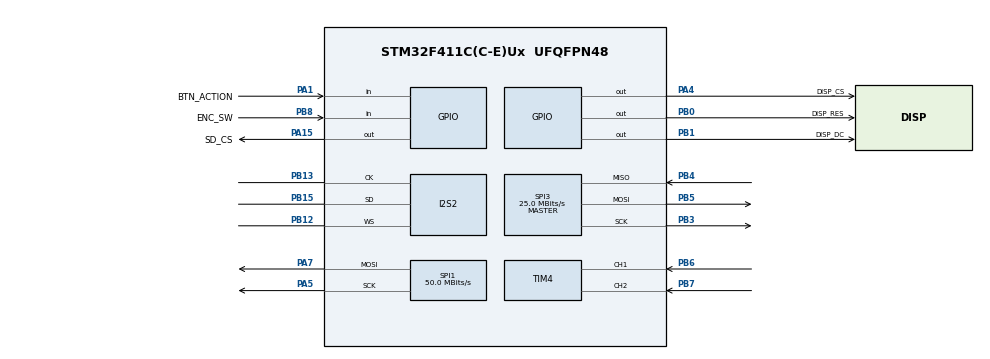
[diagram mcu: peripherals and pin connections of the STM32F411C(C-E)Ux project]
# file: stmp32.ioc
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I2S2.ErrorAudioFreq=0.0 %
I2S2.FullDuplexMode=I2S_FULLDUPLEXMODE_DISABLE
I2S2.Instance=SPI$Index
I2S2.RealAudioFreq=8.0 KHz
I2S2.VirtualMode=I2S_MODE_MASTER
Mcu.Family=STM32F4
Mcu.Name=STM32F411C(C-E)Ux
Mcu.Package=UFQFPN48
NVIC.PriorityGroup=NVIC_PRIORITYGROUP_4
PA1.GPIO_Label=BTN_ACTION
PA1.GPIO_PuPd=GPIO_PULLUP
PA1.Signal=GPIO_Input
PA15.GPIO_Label=SD_CS
PA15.Signal=GPIO_Output
PA4.GPIO_Label=DISP_CS
PA4.Signal=GPIO_Output
PA5.Mode=TX_Only_Simplex_Unidirect_Master
PA5.Signal=SPI1_SCK
PA7.Mode=TX_Only_Simplex_Unidirect_Master
PA7.Signal=SPI1_MOSI
PB0.GPIO_Label=DISP_RES
PB0.Signal=GPIO_Output
PB1.GPIO_Label=DISP_DC
PB1.Signal=GPIO_Output
PB12.Mode=Half_Duplex_Master
PB12.Signal=I2S2_WS
PB13.Mode=Half_Duplex_Master
PB13.Signal=I2S2_CK
PB15.Mode=Half_Duplex_Master
PB15.Signal=I2S2_SD
PB3.Mode=Full_Duplex_Master
PB3.Signal=SPI3_SCK
PB4.Mode=Full_Duplex_Master
PB4.Signal=SPI3_MISO
PB5.Mode=Full_Duplex_Master
PB5.Signal=SPI3_MOSI
PB6.Signal=S_TIM4_CH1
PB7.Signal=S_TIM4_CH2
PB8.GPIO_Label=ENC_SW
PB8.GPIO_PuPd=GPIO_PULLUP
PB8.Signal=GPIO_Input
ProjectManager.HeapSize=0x200
ProjectManager.StackSize=0x400
ProjectManager.TargetToolchain=CMake
RCC.48MHZClocksFreq_Value=50000000
RCC.AHBFreq_Value=100000000
RCC.APB1CLKDivider=RCC_HCLK_DIV2
RCC.APB1Freq_Value=50000000
RCC.APB1TimFreq_Value=100000000
RCC.APB2Freq_Value=100000000
RCC.APB2TimFreq_Value=100000000
RCC.CortexFreq_Value=100000000
RCC.HCLKFreq_Value=100000000
RCC.HSE_VALUE=25000000
RCC.HSI_VALUE=16000000
RCC.LSE_VALUE=32768
RCC.PLLM=8
RCC.PLLN=100
RCC.SYSCLKFreq_VALUE=100000000
RCC.SYSCLKSource=RCC_SYSCLKSOURCE_PLLCLK
RCC.VCOOutputFreq_Value=200000000
SH.S_TIM4_CH1.0=TIM4_CH1,Encoder_Interface
SH.S_TIM4_CH2.0=TIM4_CH2,Encoder_Interface
SPI1.CalculateBaudRate=50.0 MBits/s
SPI1.Direction=SPI_DIRECTION_2LINES
SPI1.Mode=SPI_MODE_MASTER
SPI1.VirtualType=VM_MASTER
SPI3.CalculateBaudRate=25.0 MBits/s
SPI3.Direction=SPI_DIRECTION_2LINES
SPI3.Mode=SPI_MODE_MASTER
SPI3.VirtualType=VM_MASTER
board=custom

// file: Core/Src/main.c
/* USER CODE BEGIN Header */
/**
 ******************************************************************************
 * @file           : main.c
 * @brief          : Main program body
 ******************************************************************************
 * @attention
 *
 * Copyright (c) 2026 STMicroelectronics.
 * All rights reserved.
 *
 * This software is licensed under terms that can be found in the LICENSE file
 * in the root directory of this software component.
 * If no LICENSE file comes with this software, it is provided AS-IS.
 *
 ******************************************************************************
 */
/* USER CODE END Header */
#include "main.h"

/* USER CODE BEGIN Includes */
#include "display.h"
#include "ff.h"
#include "util.h"
#include "cfg.h"
#include <stdio.h>
#include <string.h>
/* USER CODE END Includes */

I2S_HandleTypeDef hi2s2;

SPI_HandleTypeDef hspi3;

/* USER CODE BEGIN PV */
static FATFS fs;
static FIL   fil;
/* USER CODE END PV */

void        SystemClock_Config(void);
void        PeriphCommonClock_Config(void);
static void MX_GPIO_Init(void);
static void MX_I2S2_Init(void);
static void MX_SPI1_Init(void);
static void MX_TIM4_Init(void);
static void MX_SPI3_Init(void);

int main(void) {

    /* MCU Configuration--------------------------------------------------------*/

    /* Reset of all peripherals, Initializes the Flash interface and the Systick. */
    HAL_Init();

    /* Configure the system clock */
    SystemClock_Config();

    /* Configure the peripherals common clocks */
    PeriphCommonClock_Config();

    /* Initialize all configured peripherals */
    MX_GPIO_Init();
    MX_I2S2_Init();
    MX_SPI1_Init();
    MX_TIM4_Init();
    MX_SPI3_Init();
    /* USER CODE BEGIN 2 */
    LL_GPIO_SetOutputPin(SD_CS_GPIO_Port, SD_CS_Pin); /* SPI lines high before bus activity */
    LL_GPIO_SetOutputPin(DISP_CS_GPIO_Port, DISP_CS_Pin);

    LL_SPI_Enable(SPI1);
    LL_SPI_Enable(SPI3);

    Display_InitHardware();
    Display_Init();
    BootLog_Reset();

    BootLog_Printf(LOG_COL_INFO, LOG_COL_BG, 1, "booting stmp32...");

    FRESULT fr = f_mount(&fs, "0:", 1); /* drive 0, immediate mount */
    if (fr != FR_OK)
        BootLog_Printf(LOG_COL_ERR, LOG_COL_BG, 1, "SD mount err: %d", fr);
    else {
        BootLog_Printf(LOG_COL_OK, LOG_COL_BG, 1, "SD mount OK");

        Cfg_Init();
    }

    BootLog_End();
    /* USER CODE END 2 */

    /* Infinite loop */
    while (1) {

    }
}

void SystemClock_Config(void) {
    LL_FLASH_SetLatency(LL_FLASH_LATENCY_3);
    while (LL_FLASH_GetLatency() != LL_FLASH_LATENCY_3) {}
    LL_PWR_SetRegulVoltageScaling(LL_PWR_REGU_VOLTAGE_SCALE1);
    LL_RCC_HSI_SetCalibTrimming(16);
    LL_RCC_HSI_Enable();

    /* Wait till HSI is ready */
    while (LL_RCC_HSI_IsReady() != 1) {}
    LL_RCC_PLL_ConfigDomain_SYS(LL_RCC_PLLSOURCE_HSI, LL_RCC_PLLM_DIV_8, 100, LL_RCC_PLLP_DIV_2);
    LL_RCC_PLL_Enable();

    /* Wait till PLL is ready */
    while (LL_RCC_PLL_IsReady() != 1) {}
    while (LL_PWR_IsActiveFlag_VOS() == 0) {}
    LL_RCC_SetAHBPrescaler(LL_RCC_SYSCLK_DIV_1);
    LL_RCC_SetAPB1Prescaler(LL_RCC_APB1_DIV_2);
    LL_RCC_SetAPB2Prescaler(LL_RCC_APB2_DIV_1);
    LL_RCC_SetSysClkSource(LL_RCC_SYS_CLKSOURCE_PLL);

    /* Wait till System clock is ready */
    while (LL_RCC_GetSysClkSource() != LL_RCC_SYS_CLKSOURCE_STATUS_PLL) {}
    LL_SetSystemCoreClock(100000000);

    /* Update the time base */
    if (HAL_InitTick(TICK_INT_PRIORITY) != HAL_OK) {
        Error_Handler();
    }
    LL_RCC_SetTIMPrescaler(LL_RCC_TIM_PRESCALER_TWICE);
}

void PeriphCommonClock_Config(void) {
    LL_RCC_PLLI2S_ConfigDomain_I2S(LL_RCC_PLLSOURCE_HSI, LL_RCC_PLLI2SM_DIV_16, 192,
                                   LL_RCC_PLLI2SR_DIV_2);
    LL_RCC_PLLI2S_Enable();

    /* Wait till PLL is ready */
    while (LL_RCC_PLLI2S_IsReady() != 1) {}
}

static void MX_I2S2_Init(void) {

    hi2s2.Instance            = SPI2;
    hi2s2.Init.Mode           = I2S_MODE_MASTER_TX;
    hi2s2.Init.Standard       = I2S_STANDARD_PHILIPS;
    hi2s2.Init.DataFormat     = I2S_DATAFORMAT_16B;
    hi2s2.Init.MCLKOutput     = I2S_MCLKOUTPUT_DISABLE;
    hi2s2.Init.AudioFreq      = I2S_AUDIOFREQ_8K;
    hi2s2.Init.CPOL           = I2S_CPOL_LOW;
    hi2s2.Init.ClockSource    = I2S_CLOCK_PLL;
    hi2s2.Init.FullDuplexMode = I2S_FULLDUPLEXMODE_DISABLE;
    if (HAL_I2S_Init(&hi2s2) != HAL_OK) {
        Error_Handler();
    }
}

static void MX_SPI1_Init(void) {

    LL_SPI_InitTypeDef SPI_InitStruct = {0};

    LL_GPIO_InitTypeDef GPIO_InitStruct = {0};

    /* Peripheral clock enable */
    LL_APB2_GRP1_EnableClock(LL_APB2_GRP1_PERIPH_SPI1);

    LL_AHB1_GRP1_EnableClock(LL_AHB1_GRP1_PERIPH_GPIOA);
    /**SPI1 GPIO Configuration
    PA5   ------> SPI1_SCK
    PA7   ------> SPI1_MOSI
    */
    GPIO_InitStruct.Pin        = LL_GPIO_PIN_5 | LL_GPIO_PIN_7;
    GPIO_InitStruct.Mode       = LL_GPIO_MODE_ALTERNATE;
    GPIO_InitStruct.Speed      = LL_GPIO_SPEED_FREQ_VERY_HIGH;
    GPIO_InitStruct.OutputType = LL_GPIO_OUTPUT_PUSHPULL;
    GPIO_InitStruct.Pull       = LL_GPIO_PULL_NO;
    GPIO_InitStruct.Alternate  = LL_GPIO_AF_5;
    LL_GPIO_Init(GPIOA, &GPIO_InitStruct);

    /* SPI1 parameter configuration*/
    SPI_InitStruct.TransferDirection = LL_SPI_FULL_DUPLEX;
    SPI_InitStruct.Mode              = LL_SPI_MODE_MASTER;
    SPI_InitStruct.DataWidth         = LL_SPI_DATAWIDTH_8BIT;
    SPI_InitStruct.ClockPolarity     = LL_SPI_POLARITY_LOW;
    SPI_InitStruct.ClockPhase        = LL_SPI_PHASE_1EDGE;
    SPI_InitStruct.NSS               = LL_SPI_NSS_SOFT;
    SPI_InitStruct.BaudRate          = LL_SPI_BAUDRATEPRESCALER_DIV2;
    SPI_InitStruct.BitOrder          = LL_SPI_MSB_FIRST;
    SPI_InitStruct.CRCCalculation    = LL_SPI_CRCCALCULATION_DISABLE;
    SPI_InitStruct.CRCPoly           = 10;
    LL_SPI_Init(SPI1, &SPI_InitStruct);
    LL_SPI_SetStandard(SPI1, LL_SPI_PROTOCOL_MOTOROLA);
}

static void MX_SPI3_Init(void) {

    /* SPI3 parameter configuration*/
    hspi3.Instance               = SPI3;
    hspi3.Init.Mode              = SPI_MODE_MASTER;
    hspi3.Init.Direction         = SPI_DIRECTION_2LINES;
    hspi3.Init.DataSize          = SPI_DATASIZE_8BIT;
    hspi3.Init.CLKPolarity       = SPI_POLARITY_LOW;
    hspi3.Init.CLKPhase          = SPI_PHASE_1EDGE;
    hspi3.Init.NSS               = SPI_NSS_SOFT;
    hspi3.Init.BaudRatePrescaler = SPI_BAUDRATEPRESCALER_2;
    hspi3.Init.FirstBit          = SPI_FIRSTBIT_MSB;
    hspi3.Init.TIMode            = SPI_TIMODE_DISABLE;
    hspi3.Init.CRCCalculation    = SPI_CRCCALCULATION_DISABLE;
    hspi3.Init.CRCPolynomial     = 10;
    if (HAL_SPI_Init(&hspi3) != HAL_OK) {
        Error_Handler();
    }
}

static void MX_TIM4_Init(void) {

    LL_TIM_InitTypeDef TIM_InitStruct = {0};

    LL_GPIO_InitTypeDef GPIO_InitStruct = {0};

    /* Peripheral clock enable */
    LL_APB1_GRP1_EnableClock(LL_APB1_GRP1_PERIPH_TIM4);

    LL_AHB1_GRP1_EnableClock(LL_AHB1_GRP1_PERIPH_GPIOB);
    /**TIM4 GPIO Configuration
    PB6   ------> TIM4_CH1
    PB7   ------> TIM4_CH2
    */
    GPIO_InitStruct.Pin        = LL_GPIO_PIN_6 | LL_GPIO_PIN_7;
    GPIO_InitStruct.Mode       = LL_GPIO_MODE_ALTERNATE;
    GPIO_InitStruct.Speed      = LL_GPIO_SPEED_FREQ_LOW;
    GPIO_InitStruct.OutputType = LL_GPIO_OUTPUT_PUSHPULL;
    GPIO_InitStruct.Pull       = LL_GPIO_PULL_NO;
    GPIO_InitStruct.Alternate  = LL_GPIO_AF_2;
    LL_GPIO_Init(GPIOB, &GPIO_InitStruct);

    LL_TIM_SetEncoderMode(TIM4, LL_TIM_ENCODERMODE_X2_TI1);
    LL_TIM_IC_SetActiveInput(TIM4, LL_TIM_CHANNEL_CH1, LL_TIM_ACTIVEINPUT_DIRECTTI);
    LL_TIM_IC_SetPrescaler(TIM4, LL_TIM_CHANNEL_CH1, LL_TIM_ICPSC_DIV1);
    LL_TIM_IC_SetFilter(TIM4, LL_TIM_CHANNEL_CH1, LL_TIM_IC_FILTER_FDIV1);
    LL_TIM_IC_SetPolarity(TIM4, LL_TIM_CHANNEL_CH1, LL_TIM_IC_POLARITY_RISING);
    LL_TIM_IC_SetActiveInput(TIM4, LL_TIM_CHANNEL_CH2, LL_TIM_ACTIVEINPUT_DIRECTTI);
    LL_TIM_IC_SetPrescaler(TIM4, LL_TIM_CHANNEL_CH2, LL_TIM_ICPSC_DIV1);
    LL_TIM_IC_SetFilter(TIM4, LL_TIM_CHANNEL_CH2, LL_TIM_IC_FILTER_FDIV1);
    LL_TIM_IC_SetPolarity(TIM4, LL_TIM_CHANNEL_CH2, LL_TIM_IC_POLARITY_RISING);
    TIM_InitStruct.Prescaler     = 0;
    TIM_InitStruct.CounterMode   = LL_TIM_COUNTERMODE_UP;
    TIM_InitStruct.Autoreload    = 65535;
    TIM_InitStruct.ClockDivision = LL_TIM_CLOCKDIVISION_DIV1;
    LL_TIM_Init(TIM4, &TIM_InitStruct);
    LL_TIM_DisableARRPreload(TIM4);
    LL_TIM_SetTriggerOutput(TIM4, LL_TIM_TRGO_RESET);
    LL_TIM_DisableMasterSlaveMode(TIM4);
}

static void MX_GPIO_Init(void) {
    LL_GPIO_InitTypeDef GPIO_InitStruct = {0};

    /* GPIO Ports Clock Enable */
    LL_AHB1_GRP1_EnableClock(LL_AHB1_GRP1_PERIPH_GPIOA);
    LL_AHB1_GRP1_EnableClock(LL_AHB1_GRP1_PERIPH_GPIOB);

    /**/
    LL_GPIO_ResetOutputPin(GPIOA, DISP_CS_Pin | SD_CS_Pin);

    /**/
    LL_GPIO_ResetOutputPin(GPIOB, DISP_RES_Pin | DISP_DC_Pin);

    /**/
    GPIO_InitStruct.Pin  = BTN_ACTION_Pin;
    GPIO_InitStruct.Mode = LL_GPIO_MODE_INPUT;
    GPIO_InitStruct.Pull = LL_GPIO_PULL_UP;
    LL_GPIO_Init(BTN_ACTION_GPIO_Port, &GPIO_InitStruct);

    /**/
    GPIO_InitStruct.Pin        = DISP_CS_Pin | SD_CS_Pin;
    GPIO_InitStruct.Mode       = LL_GPIO_MODE_OUTPUT;
    GPIO_InitStruct.Speed      = LL_GPIO_SPEED_FREQ_LOW;
    GPIO_InitStruct.OutputType = LL_GPIO_OUTPUT_PUSHPULL;
    GPIO_InitStruct.Pull       = LL_GPIO_PULL_NO;
    LL_GPIO_Init(GPIOA, &GPIO_InitStruct);

    /**/
    GPIO_InitStruct.Pin        = DISP_RES_Pin | DISP_DC_Pin;
    GPIO_InitStruct.Mode       = LL_GPIO_MODE_OUTPUT;
    GPIO_InitStruct.Speed      = LL_GPIO_SPEED_FREQ_LOW;
    GPIO_InitStruct.OutputType = LL_GPIO_OUTPUT_PUSHPULL;
    GPIO_InitStruct.Pull       = LL_GPIO_PULL_NO;
    LL_GPIO_Init(GPIOB, &GPIO_InitStruct);

    /**/
    GPIO_InitStruct.Pin  = ENC_SW_Pin;
    GPIO_InitStruct.Mode = LL_GPIO_MODE_INPUT;
    GPIO_InitStruct.Pull = LL_GPIO_PULL_UP;
    LL_GPIO_Init(ENC_SW_GPIO_Port, &GPIO_InitStruct);

}

void Error_Handler(void) {
    __disable_irq();
    while (1) {}
}
